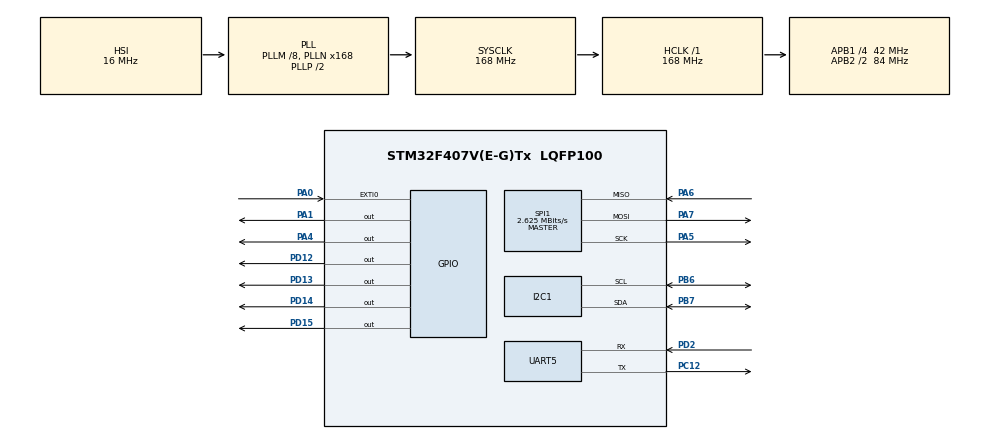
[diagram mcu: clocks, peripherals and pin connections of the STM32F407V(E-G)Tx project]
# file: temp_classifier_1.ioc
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I2C1.I2C_Mode=I2C_Fast
Mcu.Family=STM32F4
Mcu.Name=STM32F407V(E-G)Tx
Mcu.Package=LQFP100
NVIC.EXTI0_IRQn=true\:0\:0\:false\:false\:true\:true\:true\:true
NVIC.PriorityGroup=NVIC_PRIORITYGROUP_4
PA0-WKUP.Signal=GPXTI0
PA1.Signal=GPIO_Output
PA13.Mode=Serial_Wire
PA13.Signal=SYS_JTMS-SWDIO
PA14.Mode=Serial_Wire
PA14.Signal=SYS_JTCK-SWCLK
PA4.Signal=GPIO_Output
PA5.Mode=Full_Duplex_Master
PA5.Signal=SPI1_SCK
PA6.Mode=Full_Duplex_Master
PA6.Signal=SPI1_MISO
PA7.Mode=Full_Duplex_Master
PA7.Signal=SPI1_MOSI
PB6.Mode=I2C
PB6.Signal=I2C1_SCL
PB7.Mode=I2C
PB7.Signal=I2C1_SDA
PC12.Mode=Asynchronous
PC12.Signal=UART5_TX
PD12.Signal=GPIO_Output
PD13.Signal=GPIO_Output
PD14.Signal=GPIO_Output
PD15.Signal=GPIO_Output
PD2.Mode=Asynchronous
PD2.Signal=UART5_RX
ProjectManager.HeapSize=0x800
ProjectManager.StackSize=0x800
ProjectManager.TargetToolchain=STM32CubeIDE
RCC.48MHZClocksFreq_Value=84000000
RCC.AHBFreq_Value=168000000
RCC.APB1CLKDivider=RCC_HCLK_DIV4
RCC.APB1Freq_Value=42000000
RCC.APB1TimFreq_Value=84000000
RCC.APB2CLKDivider=RCC_HCLK_DIV2
RCC.APB2Freq_Value=84000000
RCC.APB2TimFreq_Value=168000000
RCC.CortexFreq_Value=168000000
RCC.HCLKFreq_Value=168000000
RCC.HSE_VALUE=25000000
RCC.HSI_VALUE=16000000
RCC.LSE_VALUE=32768
RCC.PLLM=8
RCC.PLLN=168
RCC.SYSCLKFreq_VALUE=168000000
RCC.SYSCLKSource=RCC_SYSCLKSOURCE_PLLCLK
RCC.VCOOutputFreq_Value=336000000
SPI1.BaudRatePrescaler=SPI_BAUDRATEPRESCALER_32
SPI1.CalculateBaudRate=2.625 MBits/s
SPI1.Direction=SPI_DIRECTION_2LINES
SPI1.Mode=SPI_MODE_MASTER
SPI1.VirtualType=VM_MASTER
STMicroelectronics.X-CUBE-AI.10.2.0.ActivationBufferSizeList=2084
STMicroelectronics.X-CUBE-AI.10.2.0.ActivationBuffers=pool0
STMicroelectronics.X-CUBE-AI.10.2.0.ActivationNames=pool0
STMicroelectronics.X-CUBE-AI.10.2.0.ActivationSizes=AI_TEMP_CLASSIFIER_DATA_ACTIVATION_1_SIZE
STMicroelectronics.X-CUBE-AI.10.2.0.HeapSize=0x800
STMicroelectronics.X-CUBE-AI.10.2.0.InternalRamActivationBufferMaxSize=AI_TEMP_CLASSIFIER_DATA_ACTIVATIONS_SIZE
STMicroelectronics.X-CUBE-AI.10.2.0.LatestDirectoryUsed-27bf9062419343709f80ab0154728ed0a1e420b56d16e0eab484bcbe195ed1dd=D\:\\stm_ai
STMicroelectronics.X-CUBE-AI.10.2.0.MaximumNumberOfInputLayer=1
STMicroelectronics.X-CUBE-AI.10.2.0.MaximumNumberOfOutputLayer=1
STMicroelectronics.X-CUBE-AI.10.2.0.MaximumSizeOfInputLayer=1
STMicroelectronics.X-CUBE-AI.10.2.0.MaximumSizeOfOutputLayer=1
STMicroelectronics.X-CUBE-AI.10.2.0.ModelActualCompression-27bf9062419343709f80ab0154728ed0a1e420b56d16e0eab484bcbe195ed1dd=0.0
STMicroelectronics.X-CUBE-AI.10.2.0.ModelCompression-27bf9062419343709f80ab0154728ed0a1e420b56d16e0eab484bcbe195ed1dd=None
STMicroelectronics.X-CUBE-AI.10.2.0.ModelFlashOccupation-27bf9062419343709f80ab0154728ed0a1e420b56d16e0eab484bcbe195ed1dd=11472
STMicroelectronics.X-CUBE-AI.10.2.0.ModelHashList=27bf9062419343709f80ab0154728ed0a1e420b56d16e0eab484bcbe195ed1dd
STMicroelectronics.X-CUBE-AI.10.2.0.ModelKind-27bf9062419343709f80ab0154728ed0a1e420b56d16e0eab484bcbe195ed1dd=TFLITE
STMicroelectronics.X-CUBE-AI.10.2.0.ModelMacc-27bf9062419343709f80ab0154728ed0a1e420b56d16e0eab484bcbe195ed1dd=264
STMicroelectronics.X-CUBE-AI.10.2.0.ModelName-27bf9062419343709f80ab0154728ed0a1e420b56d16e0eab484bcbe195ed1dd=temp_classifier
STMicroelectronics.X-CUBE-AI.10.2.0.ModelNameList=temp_classifier
STMicroelectronics.X-CUBE-AI.10.2.0.ModelRamOccupation-27bf9062419343709f80ab0154728ed0a1e420b56d16e0eab484bcbe195ed1dd=2084
STMicroelectronics.X-CUBE-AI.10.2.0.ModelStructureFile-27bf9062419343709f80ab0154728ed0a1e420b56d16e0eab484bcbe195ed1dd=D\:\\stm_ai\\temp_classifer_1.tflite
STMicroelectronics.X-CUBE-AI.10.2.0.ModelType-27bf9062419343709f80ab0154728ed0a1e420b56d16e0eab484bcbe195ed1dd=STM32Cube.AI MCU runtime
STMicroelectronics.X-CUBE-AI.10.2.0.ReadyForCodeGeneration=true
STMicroelectronics.X-CUBE-AI.10.2.0.StackSize=0x800
STMicroelectronics.X-CUBE-AI.10.2.0.WorkingBufferStartAddrList=0xFFFFFFFF
STMicroelectronics.X-CUBE-AI.10.2.0.XAaCUBEAaAICcArtificialOoIntelligenceJjCore=true
STMicroelectronics.X-CUBE-AI.10.2.0.copyWeightToRam=false
STMicroelectronics.X-CUBE-AI.10.2.0.copyWeightToRam-27bf9062419343709f80ab0154728ed0a1e420b56d16e0eab484bcbe195ed1dd=false
STMicroelectronics.X-CUBE-AI.10.2.0.customLayerConfigEnabled=false
STMicroelectronics.X-CUBE-AI.10.2.0.customLayerConfigEnabled-27bf9062419343709f80ab0154728ed0a1e420b56d16e0eab484bcbe195ed1dd=false
STMicroelectronics.X-CUBE-AI.10.2.0.noOnnxIoTranspose=false
STMicroelectronics.X-CUBE-AI.10.2.0.noOnnxIoTranspose-27bf9062419343709f80ab0154728ed0a1e420b56d16e0eab484bcbe195ed1dd=false
STMicroelectronics.X-CUBE-AI.10.2.0.useInputAllocation=true
STMicroelectronics.X-CUBE-AI.10.2.0.useInputAllocation-27bf9062419343709f80ab0154728ed0a1e420b56d16e0eab484bcbe195ed1dd=true
STMicroelectronics.X-CUBE-AI.10.2.0.useOutputAllocation=true
STMicroelectronics.X-CUBE-AI.10.2.0.useOutputAllocation-27bf9062419343709f80ab0154728ed0a1e420b56d16e0eab484bcbe195ed1dd=true
TIM2.AutoReloadPreload=TIM_AUTORELOAD_PRELOAD_ENABLE
TIM2.Period=4294967295
TIM2.Prescaler=83
TIM2.TIM_MasterOutputTrigger=TIM_TRGO_RESET
UART5.VirtualMode=Asynchronous
VP_CRC_VS_CRC.Mode=CRC_Activate
VP_STMicroelectronics.X-CUBE-AI_VS_ArtificialOoIntelligenceJjXAaCUBEAaAI_10.2.0.Mode=ArtificialOoIntelligenceJjXAaCUBEAaAI
VP_TIM2_VS_ClockSourceINT.Mode=Internal
board=custom

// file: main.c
/* USER CODE BEGIN Header */
/* USER CODE END Header */
#include "main.h"

/* USER CODE BEGIN Includes */
#include <stdio.h>
#include <stdlib.h>
#include <time.h>
#include <string.h>

#include "app_globals.h"
#include "uart_block.h"
#include "dht_block.h"
#include "ai_block.h"
#include "oled_block.h"
#include "spi_block.h"
#include "dht11.h"
#include "model_switcher.h"
/* USER CODE END Includes */

/* USER CODE BEGIN PV */
uint8_t switch_req = 0;
/* USER CODE END PV */

void SystemClock_Config(void);
static void MX_GPIO_Init(void);
static void MX_CRC_Init(void);
static void MX_TIM2_Init(void);
static void MX_I2C1_Init(void);
static void MX_SPI1_Init(void);
static void MX_UART5_Init(void);

int main(void)
{

  /* USER CODE BEGIN 1 */
	SCB->VTOR = MODEL_1_ADDRESS;
  /* USER CODE END 1 */

  /* MCU Configuration--------------------------------------------------------*/

  /* Reset of all peripherals, Initializes the Flash interface and the Systick. */
  HAL_Init();

  /* Configure the system clock */
  SystemClock_Config();

  /* Initialize all configured peripherals */
  MX_GPIO_Init();
  MX_CRC_Init();
  MX_TIM2_Init();
  MX_I2C1_Init();
  MX_SPI1_Init();
  MX_UART5_Init();
  /* USER CODE BEGIN 2 */

  int8_t label_idx=0;
   /* Start timer for DHT11 */
   HAL_TIM_Base_Start(&htim2);

   /* Initialize DHT11 */
   DHT11_init(GPIOA, GPIO_PIN_1);

   /* AI model init */
   AI_Init_Block();

   /* OLED init */
   OLED_Init_Block();

   /* Model initialization indication */
   model_init_indication();
  /* USER CODE END 2 */

  /* Infinite loop */
  /* USER CODE BEGIN WHILE */
 while(1) {
    if (DHT_Read_And_Print() == 1) {
          label_idx = AI_Run_Block();
          OLED_Update_Block(label_idx);
          SPI_Send_Temperature_Block();
    }
    if(switch_req == 1) {
		  start_switch_indication();

		  switch_model(MODEL_2_ADDRESS);
    }
    HAL_Delay(2000);

    /* USER CODE END WHILE */

  }
}

void SystemClock_Config(void)
{
  RCC_OscInitTypeDef RCC_OscInitStruct = {0};
  RCC_ClkInitTypeDef RCC_ClkInitStruct = {0};

  /** Configure the main internal regulator output voltage
  */
  __HAL_RCC_PWR_CLK_ENABLE();
  __HAL_PWR_VOLTAGESCALING_CONFIG(PWR_REGULATOR_VOLTAGE_SCALE1);

  /** Initializes the RCC Oscillators according to the specified parameters
  * in the RCC_OscInitTypeDef structure.
  */
  RCC_OscInitStruct.OscillatorType = RCC_OSCILLATORTYPE_HSI;
  RCC_OscInitStruct.HSIState = RCC_HSI_ON;
  RCC_OscInitStruct.HSICalibrationValue = RCC_HSICALIBRATION_DEFAULT;
  RCC_OscInitStruct.PLL.PLLState = RCC_PLL_ON;
  RCC_OscInitStruct.PLL.PLLSource = RCC_PLLSOURCE_HSI;
  RCC_OscInitStruct.PLL.PLLM = 8;
  RCC_OscInitStruct.PLL.PLLN = 168;
  RCC_OscInitStruct.PLL.PLLP = RCC_PLLP_DIV2;
  RCC_OscInitStruct.PLL.PLLQ = 4;
  if (HAL_RCC_OscConfig(&RCC_OscInitStruct) != HAL_OK)
  {
    Error_Handler();
  }

  /** Initializes the CPU, AHB and APB buses clocks
  */
  RCC_ClkInitStruct.ClockType = RCC_CLOCKTYPE_HCLK|RCC_CLOCKTYPE_SYSCLK
                              |RCC_CLOCKTYPE_PCLK1|RCC_CLOCKTYPE_PCLK2;
  RCC_ClkInitStruct.SYSCLKSource = RCC_SYSCLKSOURCE_PLLCLK;
  RCC_ClkInitStruct.AHBCLKDivider = RCC_SYSCLK_DIV1;
  RCC_ClkInitStruct.APB1CLKDivider = RCC_HCLK_DIV4;
  RCC_ClkInitStruct.APB2CLKDivider = RCC_HCLK_DIV2;

  if (HAL_RCC_ClockConfig(&RCC_ClkInitStruct, FLASH_LATENCY_5) != HAL_OK)
  {
    Error_Handler();
  }
}

static void MX_CRC_Init(void)
{

  hcrc.Instance = CRC;
  if (HAL_CRC_Init(&hcrc) != HAL_OK)
  {
    Error_Handler();
  }

}

static void MX_I2C1_Init(void)
{

  hi2c1.Instance = I2C1;
  hi2c1.Init.ClockSpeed = 400000;
  hi2c1.Init.DutyCycle = I2C_DUTYCYCLE_2;
  hi2c1.Init.OwnAddress1 = 0;
  hi2c1.Init.AddressingMode = I2C_ADDRESSINGMODE_7BIT;
  hi2c1.Init.DualAddressMode = I2C_DUALADDRESS_DISABLE;
  hi2c1.Init.OwnAddress2 = 0;
  hi2c1.Init.GeneralCallMode = I2C_GENERALCALL_DISABLE;
  hi2c1.Init.NoStretchMode = I2C_NOSTRETCH_DISABLE;
  if (HAL_I2C_Init(&hi2c1) != HAL_OK)
  {
    Error_Handler();
  }

}

static void MX_SPI1_Init(void)
{

  /* SPI1 parameter configuration*/
  hspi1.Instance = SPI1;
  hspi1.Init.Mode = SPI_MODE_MASTER;
  hspi1.Init.Direction = SPI_DIRECTION_2LINES;
  hspi1.Init.DataSize = SPI_DATASIZE_8BIT;
  hspi1.Init.CLKPolarity = SPI_POLARITY_LOW;
  hspi1.Init.CLKPhase = SPI_PHASE_1EDGE;
  hspi1.Init.NSS = SPI_NSS_SOFT;
  hspi1.Init.BaudRatePrescaler = SPI_BAUDRATEPRESCALER_32;
  hspi1.Init.FirstBit = SPI_FIRSTBIT_MSB;
  hspi1.Init.TIMode = SPI_TIMODE_DISABLE;
  hspi1.Init.CRCCalculation = SPI_CRCCALCULATION_DISABLE;
  hspi1.Init.CRCPolynomial = 10;
  if (HAL_SPI_Init(&hspi1) != HAL_OK)
  {
    Error_Handler();
  }

}

static void MX_TIM2_Init(void)
{

  TIM_ClockConfigTypeDef sClockSourceConfig = {0};
  TIM_MasterConfigTypeDef sMasterConfig = {0};

  htim2.Instance = TIM2;
  htim2.Init.Prescaler = 83;
  htim2.Init.CounterMode = TIM_COUNTERMODE_UP;
  htim2.Init.Period = 4294967295;
  htim2.Init.ClockDivision = TIM_CLOCKDIVISION_DIV1;
  htim2.Init.AutoReloadPreload = TIM_AUTORELOAD_PRELOAD_ENABLE;
  if (HAL_TIM_Base_Init(&htim2) != HAL_OK)
  {
    Error_Handler();
  }
  sClockSourceConfig.ClockSource = TIM_CLOCKSOURCE_INTERNAL;
  if (HAL_TIM_ConfigClockSource(&htim2, &sClockSourceConfig) != HAL_OK)
  {
    Error_Handler();
  }
  sMasterConfig.MasterOutputTrigger = TIM_TRGO_RESET;
  sMasterConfig.MasterSlaveMode = TIM_MASTERSLAVEMODE_DISABLE;
  if (HAL_TIMEx_MasterConfigSynchronization(&htim2, &sMasterConfig) != HAL_OK)
  {
    Error_Handler();
  }

}

static void MX_UART5_Init(void)
{

  huart5.Instance = UART5;
  huart5.Init.BaudRate = 115200;
  huart5.Init.WordLength = UART_WORDLENGTH_8B;
  huart5.Init.StopBits = UART_STOPBITS_1;
  huart5.Init.Parity = UART_PARITY_NONE;
  huart5.Init.Mode = UART_MODE_TX_RX;
  huart5.Init.HwFlowCtl = UART_HWCONTROL_NONE;
  huart5.Init.OverSampling = UART_OVERSAMPLING_16;
  if (HAL_UART_Init(&huart5) != HAL_OK)
  {
    Error_Handler();
  }

}

static void MX_GPIO_Init(void)
{
  GPIO_InitTypeDef GPIO_InitStruct = {0};

  /* GPIO Ports Clock Enable */
  __HAL_RCC_GPIOA_CLK_ENABLE();
  __HAL_RCC_GPIOD_CLK_ENABLE();
  __HAL_RCC_GPIOC_CLK_ENABLE();
  __HAL_RCC_GPIOB_CLK_ENABLE();

  /*Configure GPIO pin Output Level */
  HAL_GPIO_WritePin(GPIOA, GPIO_PIN_1|GPIO_PIN_4, GPIO_PIN_RESET);

  /*Configure GPIO pin Output Level */
  HAL_GPIO_WritePin(GPIOD, GPIO_PIN_12|GPIO_PIN_13|GPIO_PIN_14|GPIO_PIN_15, GPIO_PIN_RESET);

  /*Configure GPIO pin : PA0 */
  GPIO_InitStruct.Pin = GPIO_PIN_0;
  GPIO_InitStruct.Mode = GPIO_MODE_IT_RISING;
  GPIO_InitStruct.Pull = GPIO_NOPULL;
  HAL_GPIO_Init(GPIOA, &GPIO_InitStruct);

  /*Configure GPIO pins : PA1 PA4 */
  GPIO_InitStruct.Pin = GPIO_PIN_1|GPIO_PIN_4;
  GPIO_InitStruct.Mode = GPIO_MODE_OUTPUT_PP;
  GPIO_InitStruct.Pull = GPIO_NOPULL;
  GPIO_InitStruct.Speed = GPIO_SPEED_FREQ_LOW;
  HAL_GPIO_Init(GPIOA, &GPIO_InitStruct);

  /*Configure GPIO pins : PD12 PD13 PD14 PD15 */
  GPIO_InitStruct.Pin = GPIO_PIN_12|GPIO_PIN_13|GPIO_PIN_14|GPIO_PIN_15;
  GPIO_InitStruct.Mode = GPIO_MODE_OUTPUT_PP;
  GPIO_InitStruct.Pull = GPIO_NOPULL;
  GPIO_InitStruct.Speed = GPIO_SPEED_FREQ_LOW;
  HAL_GPIO_Init(GPIOD, &GPIO_InitStruct);

  /* EXTI interrupt init*/
  HAL_NVIC_SetPriority(EXTI0_IRQn, 0, 0);
  HAL_NVIC_EnableIRQ(EXTI0_IRQn);

}

/* USER CODE BEGIN 4 */
void HAL_GPIO_EXTI_Callback(uint16_t GPIO_Pin)
{
	switch_req = 1;
}
/* USER CODE END 4 */

void Error_Handler(void)
{
}
